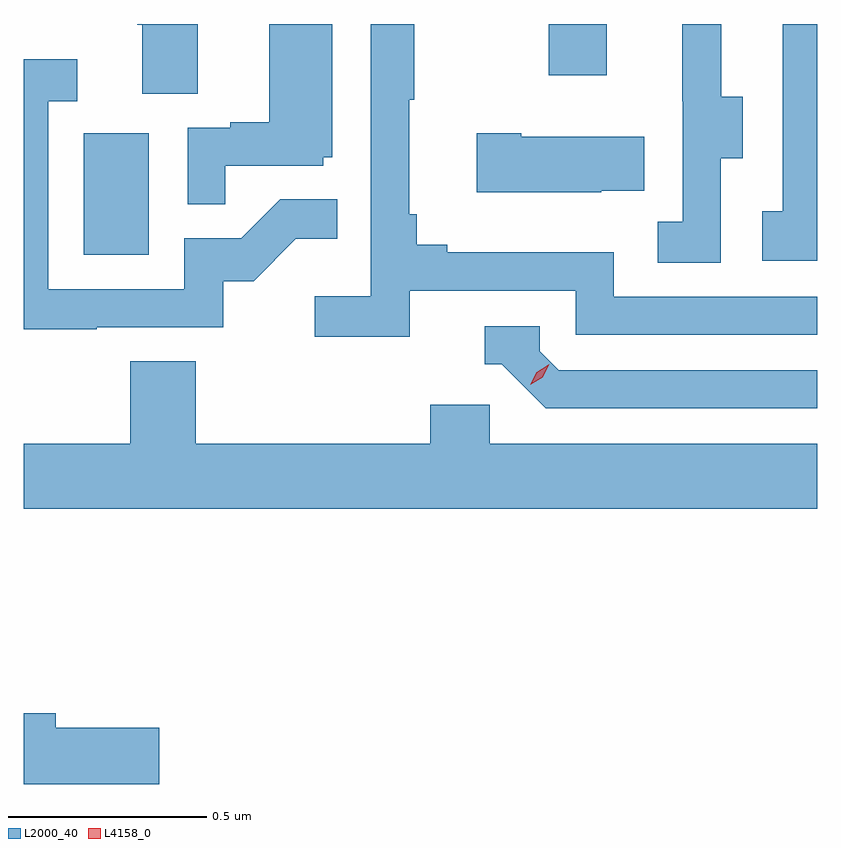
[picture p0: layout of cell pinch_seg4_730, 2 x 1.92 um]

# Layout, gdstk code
import gdstk
lib = gdstk.Library(unit=1e-6, precision=1e-09)
def R(c, l, rs):  # rectangles x0, y0, x1, y1
    for r in rs: c.add(gdstk.rectangle(r[:2], r[2:], *l))
def P(c, l, *ps):  # polygons
    for p in ps: c.add(gdstk.Polygon(p, *l))
L2000_40 = (2000, 40)
L4158_0 = (4158, 0)

pinch_seg4_730 = lib.new_cell('pinch_seg4_730')
R(pinch_seg4_730, L2000_40, [(850.856,818.772,851.02,819.079), (852.028,819.225,852.175,819.354)])
P(pinch_seg4_730, L2000_40, [(851.143,819.354),(850.991,819.354),(850.991,819.352),(851.003,819.352),(851.003,819.178),(851.143,819.178)],
  [(851.678,818.682),(852.096,818.682),(852.096,818.571),(852.705,818.571),(852.705,818.667),(852.192,818.667),(852.192,818.779),(851.773,818.779),(851.773,818.798),(851.696,818.798),(851.696,818.875),(851.677,818.875),(851.677,819.163),(851.689,819.163),(851.689,819.354),(851.58,819.354),(851.58,818.668),(851.439,818.668),(851.439,818.566),(851.678,818.566)],
  [(852.705,819.354),(852.618,819.354),(852.618,818.882),(852.567,818.882),(852.567,818.757),(852.705,818.757)],
  [(852.462,819.016),(852.517,819.016),(852.517,819.171),(852.463,819.171),(852.463,819.354),(852.365,819.354),(852.365,819.159),(852.366,819.159),(852.366,818.855),(852.303,818.855),(852.303,818.752),(852.462,818.752)],
  [(851.213,818.997),(851.46,818.997),(851.46,819.018),(851.482,819.018),(851.482,819.354),(851.324,819.354),(851.324,819.106),(851.225,819.106),(851.225,819.093),(851.118,819.093),(851.118,818.899),(851.213,818.899)],
  [(850.889,818.589),(851.208,818.589),(851.208,818.706),(851.284,818.706),(851.391,818.813),(851.495,818.813),(851.495,818.912),(851.351,818.912),(851.253,818.814),(851.109,818.814),(851.109,818.685),(850.767,818.685),(850.767,819.159),(850.84,819.159),(850.84,819.265),(850.705,819.265),(850.705,818.584),(850.889,818.584)],
  [(852.161,818.933),(852.269,818.933),(852.269,819.07),(851.959,819.07),(851.959,819.078),(851.847,819.078),(851.847,818.93),(852.161,818.93)],
  [(852.705,818.481),(852.054,818.481),(852.006,818.529),(852.006,818.592),(851.867,818.592),(851.867,818.496),(851.91,818.496),(852.021,818.385),(852.705,818.385)],
  [(852.705,818.296),(851.88,818.296),(851.88,818.394),(851.729,818.394),(851.729,818.296),(851.138,818.296),(851.138,818.504),(850.973,818.504),(850.973,818.296),(850.705,818.296),(850.705,818.132),(852.705,818.132)],
  [(851.047,817.58),(850.786,817.58),(850.786,817.616),(850.705,817.616),(850.705,817.438),(851.047,817.438)])
P(pinch_seg4_730, L4158_0, [(851.982,818.444),(851.982,818.444),(851.998,818.476),(852.029,818.496),(852.029,818.496),(852.029,818.496),(852.013,818.463),(851.982,818.444)])

lib.write_gds('pinch_seg4_730.gds')
